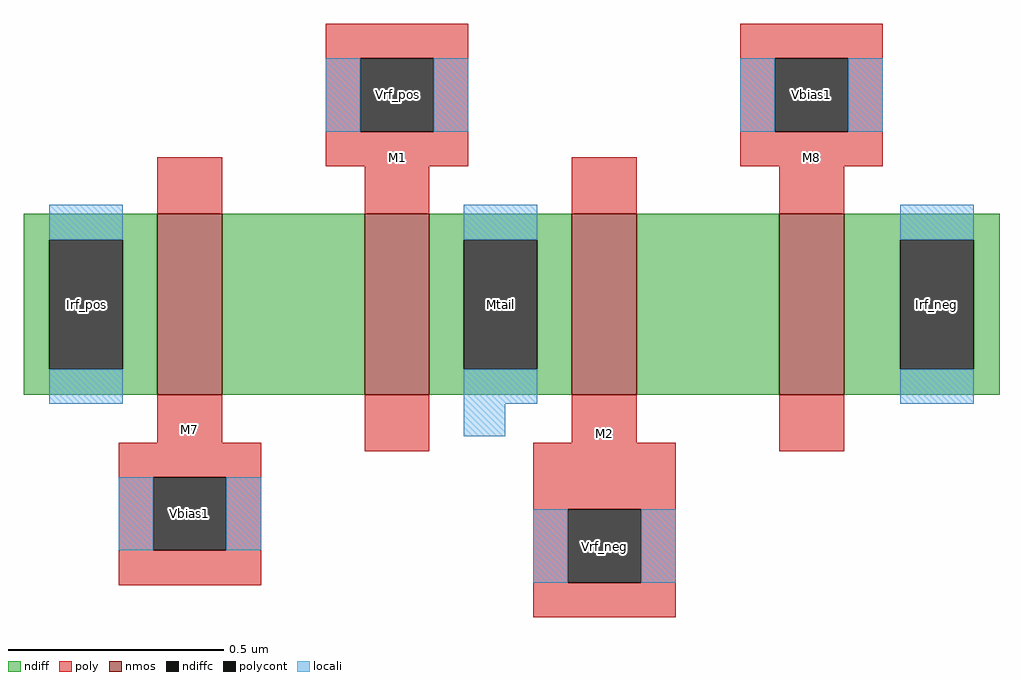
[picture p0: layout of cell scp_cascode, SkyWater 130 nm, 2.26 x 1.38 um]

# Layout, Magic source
magic
tech sky130A
magscale 1 2
<< nmos >>
rect -159 -42 -129 42
rect -63 -42 -33 42
rect 33 -42 63 42
rect 129 -42 159 42
<< ndiff >>
rect -221 30 -159 42
rect -221 -30 -209 30
rect -175 -30 -159 30
rect -221 -42 -159 -30
rect -129 -42 -63 42
rect -33 30 33 42
rect -33 -30 -17 30
rect 17 -30 33 30
rect -33 -42 33 -30
rect 63 -42 129 42
rect 159 30 231 42
rect 159 -30 185 30
rect 219 -30 231 30
rect 159 -42 231 -30
<< ndiffc >>
rect -209 -30 -175 30
rect -17 -30 17 30
rect 185 -30 219 30
<< poly >>
rect -81 114 -15 130
rect -81 80 -65 114
rect -31 80 -15 114
rect -159 42 -129 68
rect -81 64 -15 80
rect 111 114 177 130
rect 111 80 127 114
rect 161 80 177 114
rect -63 42 -33 64
rect 33 42 63 68
rect 111 64 177 80
rect 129 42 159 64
rect -159 -64 -129 -42
rect -177 -80 -111 -64
rect -63 -68 -33 -42
rect 33 -64 63 -42
rect -177 -114 -161 -80
rect -127 -114 -111 -80
rect -177 -130 -111 -114
rect 15 -95 81 -64
rect 129 -68 159 -42
rect 15 -129 31 -95
rect 65 -129 81 -95
rect 15 -145 81 -129
<< polycont >>
rect -65 80 -31 114
rect 127 80 161 114
rect -161 -114 -127 -80
rect 31 -129 65 -95
<< locali >>
rect -81 80 -65 114
rect -31 80 -15 114
rect 111 80 127 114
rect 161 80 177 114
rect -209 30 -175 46
rect -209 -46 -175 -30
rect -17 30 17 46
rect -17 -46 17 -30
rect 185 30 219 46
rect 185 -46 219 -30
rect -17 -61 2 -46
rect -177 -114 -161 -80
rect -127 -114 -111 -80
rect 15 -129 31 -95
rect 65 -129 81 -95
<< labels >>
rlabel poly -48 68 -48 68 1 M1
rlabel poly 144 68 144 68 1 M8
rlabel poly 48 -60 48 -60 1 M2
rlabel poly -144 -58 -144 -58 1 M7
rlabel polycont -65 80 -31 114 1 Vrf_pos
rlabel polycont -161 -114 -127 -80 1 Vbias1
rlabel polycont 127 80 161 114 1 Vbias1
rlabel ndiffc -17 -30 17 30 1 Mtail
rlabel ndiffc -209 -30 -175 30 1 Irf_pos
rlabel ndiffc 185 -30 219 30 1 Irf_neg
rlabel polycont 31 -129 65 -95 1 Vrf_neg
<< properties >>
string gencell nshort
string parameters w 0.420 l 0.15 m 1 nf 4 diffcov 100 polycov 100 guard 0 glc 1 grc 1 gtc 1 gbc 1 tbcov 100 rlcov 100 topc 1 botc 1 poverlap 0 doverlap 1 lmin 0.15 wmin 0.42 compatible {nshort nlowvt sonos_e nhv nhvnative} full_metal 1
string library sky130
<< end >>
